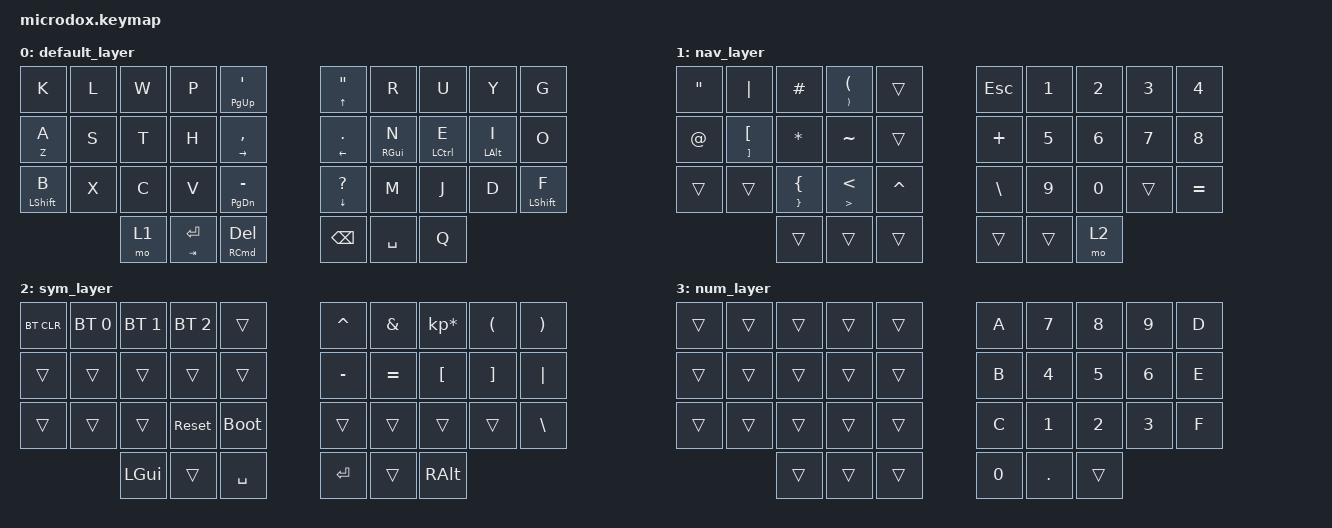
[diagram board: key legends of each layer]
/*
 * Copyright (c) 2020 The ZMK Contributors
 *
 * SPDX-License-Identifier: MIT
 */

#include <behaviors.dtsi>
#include <dt-bindings/zmk/bt.h>
#include <dt-bindings/zmk/keys.h>

&mt {
    flavor = "tap-preferred";
    tapping_term_ms = <200>;
};

/ {
    macros {
        my_macro: my_macro {
            compatible = "zmk,behavior-macro";
            #binding-cells = <0>;
            bindings =
                <&none>,
                <&macro_press>,
                <&kp RA(RC(RG(BACKSPACE))) &kp N5 &kp N6 &kp N5 &kp N1 &kp RET>;

            label = "MY_MACRO";
        };
    };

    keymap {
        compatible = "zmk,keymap";

        default_layer {
            // -----------------------------------------------------------------------------------------
            // | "/Q  |  W  |  H  |  P  | PG_UP/G   |        |  UP/J   |  L   |  U    |  Y  |  ;  |
            // | @/A  |  S  |  R  | '/T | RIGHT/D   |        | LEFT/F  |Cmd/N |Ctrl/E |Alt/I|  O  |
            // |Z/SHFT|  X  |  C  |  V  | PG_DOWN/B |        | DOWN/K  |  M   |  ,    |  .  |/ SHFT|
            //            |LYR 1|RET/TAB|DEL/COMMAND|         | BKSP    | SPC  |_/- |

            bindings = <
&kp K        &kp L  &kp W    &kp P        &mt PG_UP SQT     &mt UP DQT       &kp R       &kp U            &kp Y       &kp G
&mt Z A      &kp S  &kp T    &kp H        &mt RIGHT COMMA   &mt LEFT DOT     &mt RGUI N  &mt LCTRL E      &mt LALT I  &kp O
&mt LSHFT B  &kp X  &kp C    &kp V        &mt PG_DN MINUS   &mt DOWN QMARK   &kp M       &kp J            &kp D       &mt LSHFT F
                    &mo 1    &mt TAB RET  &mt RCMD DEL      &kp BACKSPACE    &kp SPACE   &kp Q
            >;
        };

        nav_layer {
            // -----------------------------------------------------------------------------------------
            // | ""  | || |  #  |  ()  |     |          | ESC |  l   |  2   |  3  |  4   |
            // |  @  | [] |  *  |  ~   |     |          | +/- |  5   |  6   |  7  |  8   |
            // |     |    | {}  |  <>  |  ^  |          | * / |  9   |  0   | DOT | EQUAL|
            //            |     |      |     |          |     |      |LYR 2 |

            bindings = <
&kp DQT  &kp PIPE       &kp HASH       &mt RPAR LPAR  &trans       &kp ESC   &kp N1  &kp N2  &kp N3  &kp N4
&kp AT   &mt RBKT LBKT  &kp ASTRK      &kp TILDE      &trans       &kp PLUS  &kp N5  &kp N6  &kp N7  &kp N8
&trans   &trans         &mt RBRC LBRC  &mt GT LT      &kp CARET    &kp BSLH  &kp N9  &kp N0  &trans  &kp EQUAL
                        &trans         &trans         &trans       &trans    &trans  &mo 2
            >;
        };

        sym_layer {
            // -----------------------------------------------------------------------------------------
            // |BTCLR| BT1 | BT2 | BT3 | BT4 |          |  ^  |  &  |  *  |  (  |  )  |
            // |     |     |     |     |     |          |  -  |  =  |  {  |  }  | "|" |
            // |     |     |     |RESET| BOOT|          |  _  |  +  |  [  |  ]  |  \  |
            //             | GUI |     | SPC |          | ENT |     | ALT |

            bindings = <
&bt BT_CLR  &bt BT_SEL 0  &bt BT_SEL 1  &bt BT_SEL 2  &trans         &kp CARET  &kp AMPS   &kp KP_MULTIPLY  &kp LPAR  &kp RPAR
&trans      &trans        &trans        &trans        &trans         &kp MINUS  &kp EQUAL  &kp LBKT         &kp RBKT  &kp PIPE
&trans      &trans        &trans        &sys_reset    &bootloader    &trans     &trans     &trans           &trans    &kp BSLH
                          &kp LGUI      &trans        &kp SPACE      &kp RET    &trans     &kp RALT
            >;
        };

        // This layer is unreachable until "tri layer state" is sorted out.
        // Leaving it here for completeness.

        num_layer {
            // -----------------------------------------------------------------------------------------
            // |     |     |     |     |     |   |  A  |  7  |  8  |  9  |  D  |
            // |     |     |     |     |     |   |  B  |  4  |  5  |  6  |  E  |
            // |     |     |     |     |     |   |  C  |  1  |  2  |  3  |  F  |
            //             |     |     |     |   |  0  |  .  |     |

            bindings = <
&trans  &trans  &trans  &trans  &trans    &kp A   &kp N7   &kp N8  &kp N9  &kp D
&trans  &trans  &trans  &trans  &trans    &kp B   &kp N4   &kp N5  &kp N6  &kp E
&trans  &trans  &trans  &trans  &trans    &kp C   &kp N1   &kp N2  &kp N3  &kp F
                &trans  &trans  &trans    &kp N0  &kp DOT  &trans
            >;
        };
    };
};
